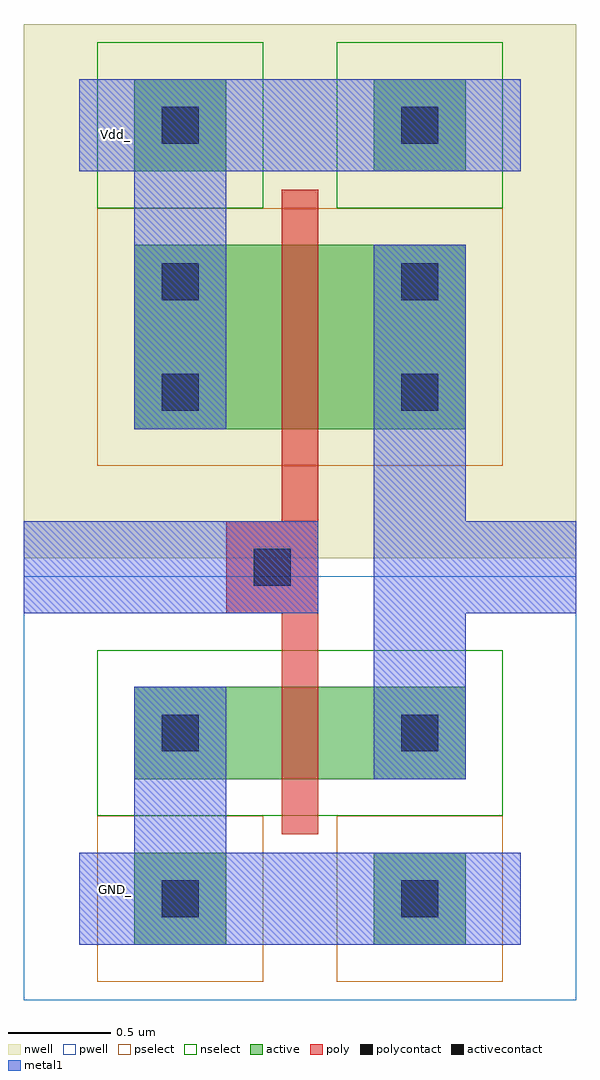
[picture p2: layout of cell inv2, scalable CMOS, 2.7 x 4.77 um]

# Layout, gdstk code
import gdstk
lib = gdstk.Library(unit=1e-6, precision=1e-09)
def R(c, l, rs):  # rectangles x0, y0, x1, y1
    for r in rs: c.add(gdstk.rectangle(r[:2], r[2:], *l))
pwell = (41, 0)
nwell = (42, 0)
active = (43, 0)
pselect = (44, 0)
nselect = (45, 0)
poly = (46, 0)
polycontact = (47, 0)
activecontact = (48, 0)
metal1 = (49, 0)

inv2 = lib.new_cell('inv2')
R(inv2, pwell, [(-0.9,-1.17,1.8,0.9)])
R(inv2, nwell, [(-0.9,0.99,1.8,3.6)])
R(inv2, active, [(-0.36,-0.9,0.09,-0.45), (0.81,-0.9,1.26,-0.45), (-0.36,-0.09,1.26,0.36), (-0.36,1.62,1.26,2.52), (-0.36,2.88,0.09,3.33), (0.81,2.88,1.26,3.33)])
R(inv2, pselect, [(-0.54,-1.08,0.27,-0.27), (0.63,-1.08,1.44,-0.27), (-0.54,1.44,1.44,2.7)])
R(inv2, nselect, [(-0.54,-0.27,1.44,0.54), (-0.54,2.7,0.27,3.51), (0.63,2.7,1.44,3.51)])
R(inv2, poly, [(0.36,-0.36,0.54,0.72), (0.09,0.72,0.54,1.17), (0.36,1.17,0.54,2.79)])
R(inv2, polycontact, [(0.225,0.855,0.405,1.035)])
R(inv2, activecontact, [(-0.225,-0.765,-0.045,-0.585), (0.945,-0.765,1.125,-0.585), (-0.225,0.045,-0.045,0.225), (0.945,0.045,1.125,0.225), (-0.225,1.71,-0.045,1.89), (0.945,1.71,1.125,1.89), (-0.225,2.25,-0.045,2.43), (0.945,2.25,1.125,2.43), (-0.225,3.015,-0.045,3.195), (0.945,3.015,1.125,3.195)])
R(inv2, metal1, [(-0.63,-0.9,1.53,-0.45), (-0.36,-0.45,0.09,0.36), (0.81,-0.09,1.26,0.72), (-0.9,0.72,0.54,1.17), (0.81,0.72,1.8,1.17), (0.81,1.17,1.26,2.52), (-0.36,1.62,0.09,2.88), (-0.63,2.88,1.53,3.33)])
inv2.add(gdstk.Label('GND_', (-0.45,-0.63), layer=49, texttype=0))
inv2.add(gdstk.Label('Vdd_', (-0.45,3.06), layer=49, texttype=0))

lib.write_gds('inv2.gds')
